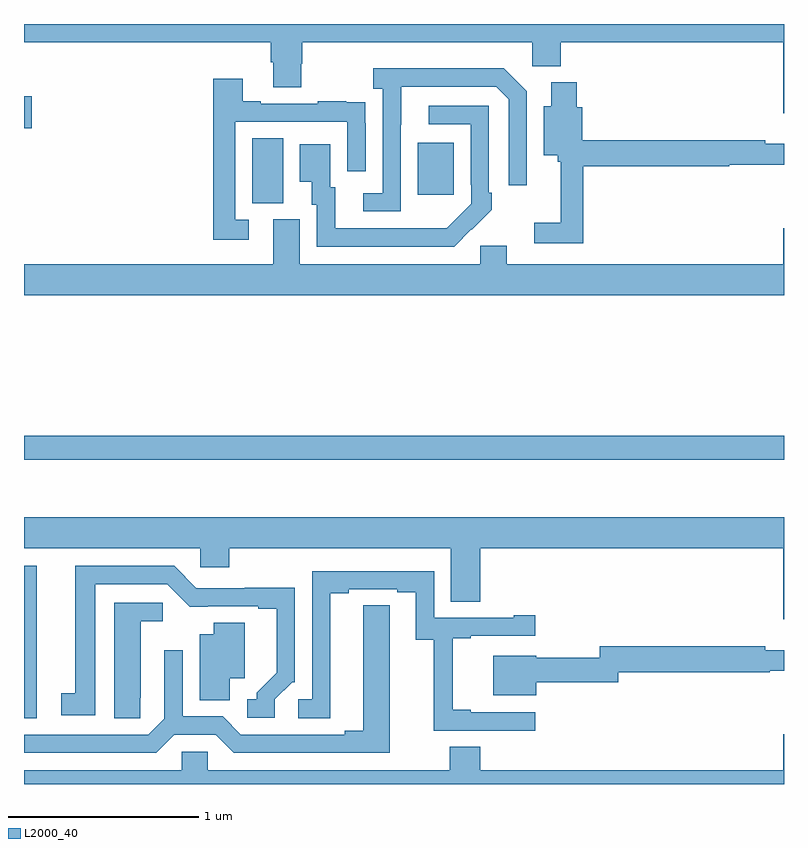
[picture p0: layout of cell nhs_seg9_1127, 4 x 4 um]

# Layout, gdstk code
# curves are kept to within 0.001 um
import gdstk
lib = gdstk.Library(unit=1e-6, precision=1e-09)
def R(c, l, rs):  # rectangles x0, y0, x1, y1
    for r in rs: c.add(gdstk.rectangle(r[:2], r[2:], *l))
def P(c, l, *ps):  # polygons
    for p in ps: c.add(gdstk.Polygon(p, *l))
L2000_40 = (2000, 40)

nhs_seg9_1127 = lib.new_cell('nhs_seg9_1127')
R(nhs_seg9_1127, L2000_40, [(173,1208.847,173.068,1209.648), (173,1210.206,177,1210.334), (174.2,1211.557,174.364,1211.9), (175.073,1211.601,175.261,1211.875), (173,1211.951,173.041,1212.121)])
P(nhs_seg9_1127, L2000_40, [(173,1212.404),(174.299,1212.404),(174.299,1212.298),(174.311,1212.298),(174.311,1212.166),(174.459,1212.166),(174.459,1212.291),(174.464,1212.291),(174.464,1212.404),(175.674,1212.404),(175.674,1212.278),(175.826,1212.278),(175.826,1212.404),(176.996,1212.404),(176.996,1212.03),(177,1212.03),(177,1212.5),(173,1212.5)],
  [(174.984,1211.971),(174.985,1212.171),(175.485,1212.171),(175.551,1212.105),(175.551,1211.652),(175.647,1211.652),(175.647,1212.147),(175.526,1212.268),(174.837,1212.268),(174.837,1212.158),(174.888,1212.158),(174.888,1211.61),(174.786,1211.61),(174.786,1211.514),(174.984,1211.514)],
  [(174.184,1211.469),(174.111,1211.469),(174.111,1211.985),(174.702,1211.985),(174.702,1211.724),(174.798,1211.724),(174.798,1211.978),(174.797,1211.978),(174.797,1212.087),(174.695,1212.087),(174.695,1212.094),(174.547,1212.094),(174.547,1212.081),(174.247,1212.081),(174.247,1212.094),(174.151,1212.094),(174.151,1212.211),(173.995,1212.211),(173.995,1211.364),(174.184,1211.364)],
  [(175.943,1211.752),(176.713,1211.752),(176.713,1211.76),(177,1211.76),(177,1211.869),(176.9,1211.869),(176.9,1211.888),(175.937,1211.888),(175.937,1212.063),(175.91,1212.063),(175.91,1212.193),(175.775,1212.193),(175.775,1212.067),(175.736,1212.067),(175.736,1211.81),(175.808,1211.81),(175.808,1211.775),(175.826,1211.775),(175.826,1211.455),(175.686,1211.455),(175.686,1211.346),(175.943,1211.346)],
  [(175.355,1211.419),(175.356,1211.418),(175.461,1211.523),(175.461,1211.611),(175.446,1211.611),(175.446,1212.069),(175.131,1212.069),(175.131,1211.973),(175.35,1211.973),(175.35,1211.653),(175.353,1211.653),(175.353,1211.553),(175.225,1211.425),(174.637,1211.424),(174.637,1211.64),(174.613,1211.64),(174.613,1211.866),(174.452,1211.866),(174.452,1211.669),(174.515,1211.669),(174.515,1211.55),(174.54,1211.55),(174.54,1211.328),(175.264,1211.328)],
  [(177,1211.425),(176.996,1211.425),(176.996,1211.236),(175.54,1211.236),(175.54,1211.334),(175.401,1211.334),(175.401,1211.236),(174.451,1211.236),(174.451,1211.472),(174.311,1211.472),(174.311,1211.236),(173,1211.236),(173,1211.072),(177,1211.072)],
  [(177,1209.904),(173,1209.904),(173,1209.74),(173.928,1209.74),(173.928,1209.642),(174.08,1209.642),(174.08,1209.74),(175.247,1209.74),(175.247,1209.46),(175.4,1209.46),(175.4,1209.74),(176.996,1209.74),(176.996,1209.366),(177,1209.366)],
  [(174.321,1208.946),(174.411,1209.036),(174.426,1209.036),(174.426,1209.533),(174.163,1209.533),(174.163,1209.531),(173.907,1209.531),(173.79,1209.648),(173.27,1209.648),(173.27,1208.978),(173.196,1208.978),(173.196,1208.862),(173.374,1208.862),(173.374,1209.552),(173.754,1209.552),(173.872,1209.434),(174.233,1209.435),(174.233,1209.423),(174.329,1209.423),(174.329,1209.086),(174.224,1208.981),(174.224,1208.946),(174.174,1208.946),(174.174,1208.85),(174.321,1208.85)],
  [(175.69,1208.877),(175.351,1208.877),(175.351,1208.89),(175.256,1208.89),(175.256,1209.267),(175.351,1209.267),(175.351,1209.279),(175.69,1209.279),(175.69,1209.388),(175.577,1209.388),(175.577,1209.375),(175.158,1209.375),(175.158,1209.621),(174.516,1209.621),(174.516,1208.946),(174.444,1208.946),(174.444,1208.845),(174.613,1208.845),(174.613,1209.505),(174.709,1209.505),(174.709,1209.525),(174.965,1209.525),(174.965,1209.51),(175.061,1209.51),(175.061,1209.259),(175.156,1209.259),(175.156,1208.781),(175.69,1208.781)],
  [(173.613,1208.953),(173.614,1208.953),(173.614,1209.356),(173.731,1209.356),(173.731,1209.453),(173.474,1209.453),(173.474,1208.845),(173.613,1208.845)],
  [(173.791,1208.76),(174.009,1208.76),(174.105,1208.664),(174.925,1208.664),(174.924,1209.44),(174.785,1209.44),(174.785,1208.78),(174.689,1208.78),(174.689,1208.76),(174.141,1208.76),(174.045,1208.856),(173.835,1208.856),(173.835,1209.205),(173.739,1209.205),(173.739,1208.844),(173.655,1208.76),(173,1208.76),(173,1208.664),(173.695,1208.664)],
  [(174.082,1209.056),(174.163,1209.056),(174.163,1209.35),(173.999,1209.35),(173.999,1209.289),(173.924,1209.289),(173.924,1208.941),(174.082,1208.941)],
  [(175.696,1209.036),(176.127,1209.036),(176.127,1209.088),(176.924,1209.088),(176.924,1209.096),(177,1209.096),(177,1209.205),(176.9,1209.205),(176.9,1209.224),(176.031,1209.224),(176.031,1209.164),(175.696,1209.164),(175.696,1209.175),(175.469,1209.175),(175.469,1208.966),(175.696,1208.966)],
  [(177,1208.761),(176.996,1208.761),(176.996,1208.572),(175.4,1208.572),(175.4,1208.696),(175.24,1208.696),(175.24,1208.572),(173.967,1208.572),(173.967,1208.67),(173.829,1208.67),(173.829,1208.572),(173,1208.572),(173,1208.5),(177,1208.5)])

lib.write_gds('nhs_seg9_1127.gds')
